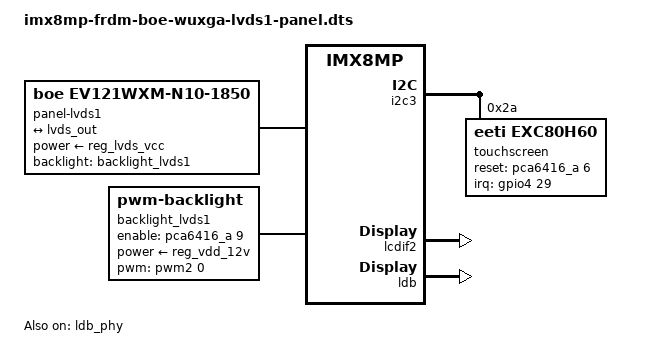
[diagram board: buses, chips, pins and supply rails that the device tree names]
// SPDX-License-Identifier: (GPL-2.0+ OR MIT)
/*
 * Copyright 2025 NXP
 */

#include "imx8mp-frdm.dts"

/ {
	panel-lvds1 {
		compatible = "boe,ev121wxm-n10-1850";
		backlight = <&backlight_lvds1>;
		power-supply = <&reg_lvds_vcc>;

		port {
			panel_lvds_in: endpoint {
				remote-endpoint = <&lvds_out>;
			};
		};
	};

	backlight_lvds1: backlight-lvds1 {
		compatible = "pwm-backlight";
		enable-gpios = <&pca6416_a 9 GPIO_ACTIVE_HIGH>;
		pwms = <&pwm2 0 100000 0>;
		power-supply = <&reg_vdd_12v>;
		brightness-levels = <0 100>;
		num-interpolated-steps = <100>;
		default-brightness-level = <80>;
	};
};

&i2c3 {
	touchscreen@2a {
		compatible = "eeti,exc80h60";
		reg = <0x2a>;
		pinctrl-names = "default";
		pinctrl-0 = <&pinctrl_lvds_ctp_int_1>;
		interrupt-parent = <&gpio4>;
		interrupts = <29 IRQ_TYPE_LEVEL_LOW>;
		reset-gpios = <&pca6416_a 6 GPIO_ACTIVE_HIGH>;
		touchscreen-size-y = <4096>;
		touchscreen-size-x = <4096>;
	};
};

&lcdif2 {
	status = "okay";
};

&ldb {
	status = "okay";

	lvds-channel@1 {
		#address-cells = <1>;
		#size-cells = <0>;
		status = "okay";

		port@1 {
			reg = <1>;

			lvds_out: endpoint {
				remote-endpoint = <&panel_lvds_in>;
			};
		};
	};
};

&ldb_phy {
	status = "okay";
};

&iomuxc {
	pinctrl_lvds_ctp_int_1: lvds_ctp_int_grp_1 {
		fsl,pins = <
			MX8MP_IOMUXC_SAI3_RXC__GPIO4_IO29		  0x31e
		>;
	};
};
